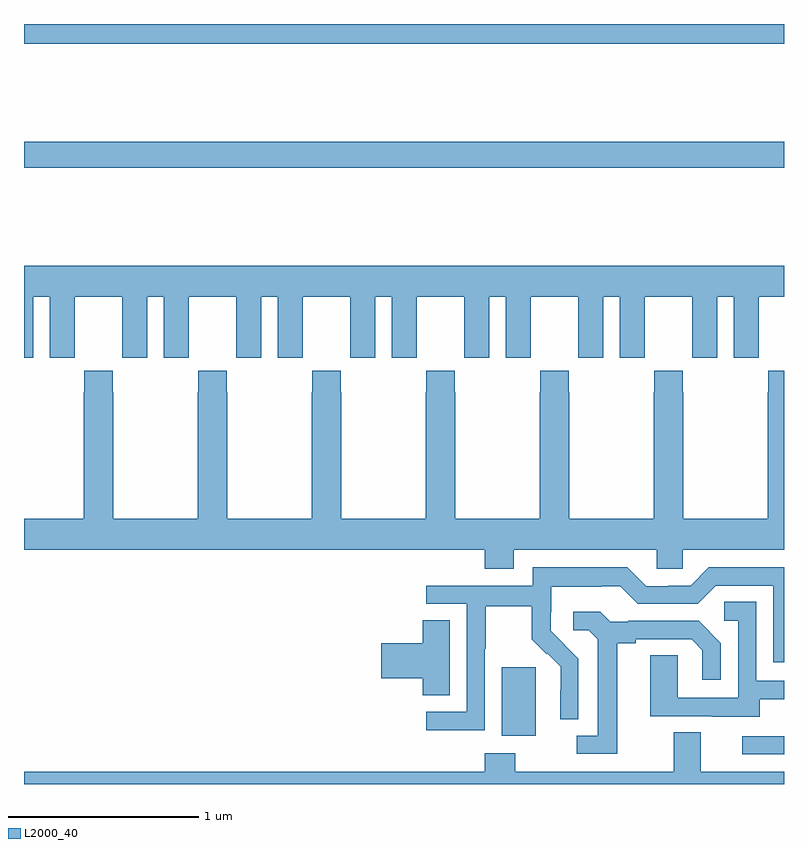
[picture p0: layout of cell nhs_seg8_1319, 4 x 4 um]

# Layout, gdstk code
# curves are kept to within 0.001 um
import gdstk
lib = gdstk.Library(unit=1e-6, precision=1e-09)
def R(c, l, rs):  # rectangles x0, y0, x1, y1
    for r in rs: c.add(gdstk.rectangle(r[:2], r[2:], *l))
def P(c, l, *ps):  # polygons
    for p in ps: c.add(gdstk.Polygon(p, *l))
L2000_40 = (2000, 40)

nhs_seg8_1319 = lib.new_cell('nhs_seg8_1319')
R(nhs_seg8_1319, L2000_40, [(196.779,1150.056,197,1150.152), (195.515,1150.154,195.694,1150.515), (193,1153.144,197,1153.28), (193,1153.796,197,1153.9)])
P(nhs_seg8_1319, L2000_40, [(193,1152.144),(193.048,1152.144),(193.048,1152.464),(193.136,1152.464),(193.136,1152.144),(193.266,1152.144),(193.266,1152.256),(193.267,1152.256),(193.267,1152.464),(193.517,1152.464),(193.517,1152.256),(193.518,1152.256),(193.518,1152.144),(193.648,1152.144),(193.648,1152.464),(193.736,1152.464),(193.736,1152.144),(193.866,1152.144),(193.866,1152.256),(193.867,1152.256),(193.867,1152.464),(194.117,1152.464),(194.117,1152.256),(194.118,1152.256),(194.118,1152.144),(194.248,1152.144),(194.248,1152.464),(194.336,1152.464),(194.336,1152.144),(194.466,1152.144),(194.466,1152.256),(194.467,1152.256),(194.467,1152.464),(194.717,1152.464),(194.717,1152.256),(194.718,1152.256),(194.718,1152.144),(194.848,1152.144),(194.848,1152.464),(194.936,1152.464),(194.936,1152.144),(195.066,1152.144),(195.066,1152.256),(195.067,1152.256),(195.067,1152.464),(195.317,1152.464),(195.317,1152.256),(195.318,1152.256),(195.318,1152.144),(195.448,1152.144),(195.448,1152.464),(195.536,1152.464),(195.536,1152.144),(195.666,1152.144),(195.666,1152.256),(195.667,1152.256),(195.667,1152.464),(195.917,1152.464),(195.917,1152.256),(195.918,1152.256),(195.918,1152.144),(196.048,1152.144),(196.048,1152.464),(196.136,1152.464),(196.136,1152.144),(196.266,1152.144),(196.266,1152.256),(196.267,1152.256),(196.267,1152.464),(196.517,1152.464),(196.517,1152.256),(196.518,1152.256),(196.518,1152.144),(196.648,1152.144),(196.648,1152.464),(196.736,1152.464),(196.736,1152.144),(196.866,1152.144),(196.866,1152.256),(196.867,1152.256),(196.867,1152.464),(197,1152.464),(197,1152.628),(193,1152.628)],
  [(197,1152.076),(196.917,1152.076),(196.917,1151.963),(196.915,1151.963),(196.915,1151.296),(196.47,1151.296),(196.47,1151.963),(196.467,1151.963),(196.467,1152.076),(196.317,1152.076),(196.317,1151.963),(196.315,1151.963),(196.315,1151.296),(195.87,1151.296),(195.87,1151.963),(195.867,1151.963),(195.867,1152.076),(195.717,1152.076),(195.717,1151.963),(195.715,1151.963),(195.715,1151.296),(195.27,1151.296),(195.27,1151.963),(195.267,1151.963),(195.267,1152.076),(195.117,1152.076),(195.117,1151.963),(195.115,1151.963),(195.115,1151.296),(194.67,1151.296),(194.67,1151.963),(194.667,1151.963),(194.667,1152.076),(194.517,1152.076),(194.517,1151.963),(194.515,1151.963),(194.515,1151.296),(194.07,1151.296),(194.07,1151.963),(194.067,1151.963),(194.067,1152.076),(193.917,1152.076),(193.917,1151.963),(193.915,1151.963),(193.915,1151.296),(193.47,1151.296),(193.47,1151.963),(193.467,1151.963),(193.467,1152.076),(193.317,1152.076),(193.317,1151.963),(193.315,1151.963),(193.315,1151.296),(193,1151.296),(193,1151.132),(195.425,1151.132),(195.425,1151.033),(195.577,1151.033),(195.577,1151.132),(196.329,1151.132),(196.329,1151.034),(196.467,1151.034),(196.467,1151.132),(197,1151.132)],
  [(195.426,1150.612),(195.429,1150.612),(195.429,1150.836),(195.673,1150.836),(195.673,1150.661),(195.75,1150.584),(195.753,1150.587),(195.824,1150.517),(195.824,1150.394),(195.822,1150.394),(195.822,1150.24),(195.918,1150.24),(195.918,1150.558),(195.772,1150.706),(195.772,1150.803),(195.774,1150.803),(195.774,1150.937),(196.037,1150.937),(196.037,1150.941),(196.137,1150.941),(196.23,1150.848),(196.545,1150.848),(196.641,1150.944),(196.944,1150.944),(196.944,1150.542),(197,1150.542),(197,1151.04),(196.605,1151.04),(196.509,1150.944),(196.391,1150.944),(196.391,1150.941),(196.275,1150.941),(196.175,1151.041),(195.678,1151.041),(195.678,1150.944),(195.117,1150.944),(195.117,1150.848),(195.33,1150.848),(195.33,1150.281),(195.117,1150.281),(195.117,1150.183),(195.426,1150.183)],
  [(196.873,1150.347),(197,1150.347),(197,1150.443),(196.854,1150.443),(196.854,1150.859),(196.686,1150.859),(196.686,1150.758),(196.758,1150.758),(196.758,1150.353),(196.44,1150.353),(196.44,1150.577),(196.295,1150.577),(196.295,1150.257),(196.619,1150.257),(196.619,1150.253),(196.873,1150.253)],
  [(196.123,1150.64),(196.219,1150.64),(196.219,1150.662),(196.514,1150.662),(196.571,1150.605),(196.571,1150.449),(196.668,1150.449),(196.668,1150.642),(196.552,1150.758),(196.18,1150.758),(196.18,1150.755),(196.086,1150.755),(196.034,1150.807),(195.891,1150.807),(195.891,1150.71),(195.972,1150.71),(196.019,1150.663),(196.019,1150.155),(195.909,1150.155),(195.909,1150.059),(196.123,1150.059)],
  [(195.241,1150.763),(195.098,1150.763),(195.098,1150.64),(194.88,1150.64),(194.88,1150.457),(195.098,1150.457),(195.098,1150.366),(195.241,1150.366)],
  [(197,1149.964),(196.561,1149.964),(196.561,1150.172),(196.421,1150.172),(196.421,1149.964),(195.585,1149.964),(195.585,1150.063),(195.425,1150.063),(195.425,1149.964),(193,1149.964),(193,1149.9),(197,1149.9)])

lib.write_gds('nhs_seg8_1319.gds')
